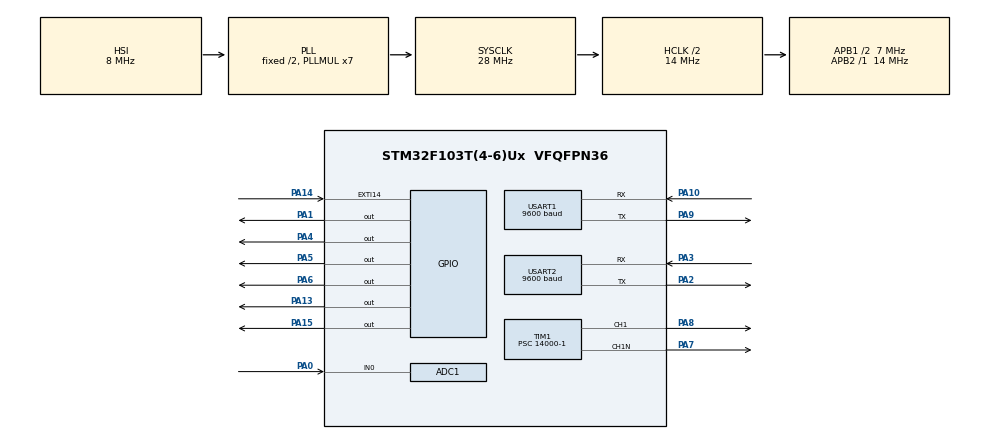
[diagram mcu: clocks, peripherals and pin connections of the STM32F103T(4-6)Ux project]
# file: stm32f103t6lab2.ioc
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ADC1.Channel-4\#ChannelRegularConversion=ADC_CHANNEL_0
ADC1.NbrOfConversionFlag=1
ADC1.Rank-4\#ChannelRegularConversion=1
ADC1.SamplingTime-4\#ChannelRegularConversion=ADC_SAMPLETIME_1CYCLE_5
ADC1.master=1
Mcu.Family=STM32F1
Mcu.Name=STM32F103T(4-6)Ux
Mcu.Package=VFQFPN36
NVIC.ADC1_2_IRQn=true\:0\:0\:false\:false\:true\:true\:true\:true
NVIC.EXTI15_10_IRQn=true\:0\:0\:false\:false\:true\:true\:true\:true
NVIC.PriorityGroup=NVIC_PRIORITYGROUP_4
NVIC.TIM2_IRQn=true\:0\:0\:false\:false\:true\:true\:true\:true
NVIC.USART1_IRQn=true\:0\:0\:false\:false\:true\:true\:true\:true
NVIC.USART2_IRQn=true\:0\:0\:false\:false\:true\:true\:true\:true
PA0-WKUP.Signal=ADCx_IN0
PA1.Signal=GPIO_Output
PA10.Mode=Asynchronous
PA10.Signal=USART1_RX
PA13.PinState=GPIO_PIN_SET
PA13.Signal=GPIO_Output
PA14.GPIO_ModeDefaultEXTI=GPIO_MODE_IT_RISING_FALLING
PA14.Signal=GPXTI14
PA15.PinState=GPIO_PIN_SET
PA15.Signal=GPIO_Output
PA2.Mode=Asynchronous
PA2.Signal=USART2_TX
PA3.Mode=Asynchronous
PA3.Signal=USART2_RX
PA4.PinState=GPIO_PIN_SET
PA4.Signal=GPIO_Output
PA5.PinState=GPIO_PIN_SET
PA5.Signal=GPIO_Output
PA6.PinState=GPIO_PIN_SET
PA6.Signal=GPIO_Output
PA7.Mode=PWM Generation1 CH1 CH1N
PA7.Signal=TIM1_CH1N
PA8.Signal=S_TIM1_CH1
PA9.Mode=Asynchronous
PA9.Signal=USART1_TX
ProjectManager.HeapSize=0x200
ProjectManager.StackSize=0x400
ProjectManager.TargetToolchain=STM32CubeIDE
RCC.AHBCLKDivider=RCC_SYSCLK_DIV2
RCC.AHBFreq_Value=14000000
RCC.APB1CLKDivider=RCC_HCLK_DIV2
RCC.APB1Freq_Value=7000000
RCC.APB1TimFreq_Value=14000000
RCC.APB2Freq_Value=14000000
RCC.APB2TimFreq_Value=14000000
RCC.HCLKFreq_Value=14000000
RCC.PLLMUL=RCC_PLL_MUL7
RCC.SYSCLKFreq_VALUE=28000000
RCC.SYSCLKSource=RCC_SYSCLKSOURCE_PLLCLK
RCC.USBFreq_Value=28000000
SH.ADCx_IN0.0=ADC1_IN0,IN0
SH.S_TIM1_CH1.0=TIM1_CH1,PWM Generation1 CH1 CH1N
TIM1.Channel-PWM\ Generation1\ CH1\ CH1N=TIM_CHANNEL_1
TIM1.OCNPolarity_1=TIM_OCNPOLARITY_HIGH
TIM1.Period=700-1
TIM1.Prescaler=14000-1
TIM1.Pulse-PWM\ Generation1\ CH1\ CH1N=350-1
TIM2.Period=700-1
TIM2.Prescaler=14000-1
USART1.BaudRate=9600
USART1.VirtualMode=VM_ASYNC
USART2.BaudRate=9600
USART2.VirtualMode=VM_ASYNC
VP_SYS_VS_ND.Mode=No_Debug
VP_TIM1_VS_ClockSourceINT.Mode=Internal
VP_TIM2_VS_ClockSourceINT.Mode=Internal
board=custom

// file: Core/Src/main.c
/* USER CODE BEGIN Header */
/**
  ******************************************************************************
  * @file           : main.c
  * @brief          : Main program body
  ******************************************************************************
  * @attention
  *
  * Copyright (c) 2024 STMicroelectronics.
  * All rights reserved.
  *
  * This software is licensed under terms that can be found in the LICENSE file
  * in the root directory of this software component.
  * If no LICENSE file comes with this software, it is provided AS-IS.
  *
  ******************************************************************************
  */
/* USER CODE END Header */
#include "main.h"

/* USER CODE BEGIN Includes */
#include <string.h>
#include <stdio.h>
/* USER CODE END Includes */

ADC_HandleTypeDef hadc1;

TIM_HandleTypeDef htim1;
TIM_HandleTypeDef htim2;

UART_HandleTypeDef huart1;
UART_HandleTypeDef huart2;

/* USER CODE BEGIN PV */
#define UART_RX_BUFFER_SIZE 50

char uart2_rx_buffer[UART_RX_BUFFER_SIZE];
uint8_t uart2_rx_index = 0;
char uart1_tx_buffer[50];
uint8_t uart2_rx_data;
/* USER CODE END PV */

void SystemClock_Config(void);
static void MX_GPIO_Init(void);
static void MX_TIM2_Init(void);
static void MX_TIM1_Init(void);
static void MX_USART1_UART_Init(void);
static void MX_ADC1_Init(void);
static void MX_USART2_UART_Init(void);

int main(void)
{

  /* MCU Configuration--------------------------------------------------------*/

  /* Reset of all peripherals, Initializes the Flash interface and the Systick. */
  HAL_Init();

  /* Configure the system clock */
  SystemClock_Config();

  /* Initialize all configured peripherals */
  MX_GPIO_Init();
  MX_TIM2_Init();
  MX_TIM1_Init();
  MX_USART1_UART_Init();
  MX_ADC1_Init();
  MX_USART2_UART_Init();
  /* USER CODE BEGIN 2 */
  HAL_GPIO_WritePin(GPIOA, GPIO_PIN_1|GPIO_PIN_4|GPIO_PIN_5|GPIO_PIN_6|GPIO_PIN_15|GPIO_PIN_13, GPIO_PIN_RESET);
  HAL_TIM_Base_Start_IT(&htim2);
  HAL_TIM_PWM_Start(&htim1, TIM_CHANNEL_1);
  HAL_TIMEx_PWMN_Start(&htim1, TIM_CHANNEL_1);

  char text[250];
  snprintf(text, 250, "Lorem ipsum dolor sit amet, consectetuer adipiscing elit.\r\n");
  /* USER CODE END 2 */

  /* Infinite loop */
  /* USER CODE BEGIN WHILE */
  HAL_UART_Receive_IT(&huart2, &uart2_rx_data, 1);
  while (1)
  {
	    HAL_ADC_Start(&hadc1);
	    HAL_ADC_PollForConversion(&hadc1, 200);
	    uint32_t value = HAL_ADC_GetValue(&hadc1);
	    HAL_ADC_Stop(&hadc1);
	    snprintf(uart1_tx_buffer, sizeof(uart1_tx_buffer), "ADC Value = %lu \r\n", value);
	    HAL_UART_Transmit_IT(&huart1, (uint8_t*)uart1_tx_buffer, strlen(uart1_tx_buffer));
	    HAL_Delay(1000);
    /* USER CODE END WHILE */

  }
}

void SystemClock_Config(void)
{
  RCC_OscInitTypeDef RCC_OscInitStruct = {0};
  RCC_ClkInitTypeDef RCC_ClkInitStruct = {0};
  RCC_PeriphCLKInitTypeDef PeriphClkInit = {0};

  /** Initializes the RCC Oscillators according to the specified parameters
  * in the RCC_OscInitTypeDef structure.
  */
  RCC_OscInitStruct.OscillatorType = RCC_OSCILLATORTYPE_HSI;
  RCC_OscInitStruct.HSIState = RCC_HSI_ON;
  RCC_OscInitStruct.HSICalibrationValue = RCC_HSICALIBRATION_DEFAULT;
  RCC_OscInitStruct.PLL.PLLState = RCC_PLL_ON;
  RCC_OscInitStruct.PLL.PLLSource = RCC_PLLSOURCE_HSI_DIV2;
  RCC_OscInitStruct.PLL.PLLMUL = RCC_PLL_MUL7;
  if (HAL_RCC_OscConfig(&RCC_OscInitStruct) != HAL_OK)
  {
    Error_Handler();
  }

  /** Initializes the CPU, AHB and APB buses clocks
  */
  RCC_ClkInitStruct.ClockType = RCC_CLOCKTYPE_HCLK|RCC_CLOCKTYPE_SYSCLK
                              |RCC_CLOCKTYPE_PCLK1|RCC_CLOCKTYPE_PCLK2;
  RCC_ClkInitStruct.SYSCLKSource = RCC_SYSCLKSOURCE_PLLCLK;
  RCC_ClkInitStruct.AHBCLKDivider = RCC_SYSCLK_DIV2;
  RCC_ClkInitStruct.APB1CLKDivider = RCC_HCLK_DIV2;
  RCC_ClkInitStruct.APB2CLKDivider = RCC_HCLK_DIV1;

  if (HAL_RCC_ClockConfig(&RCC_ClkInitStruct, FLASH_LATENCY_1) != HAL_OK)
  {
    Error_Handler();
  }
  PeriphClkInit.PeriphClockSelection = RCC_PERIPHCLK_ADC;
  PeriphClkInit.AdcClockSelection = RCC_ADCPCLK2_DIV2;
  if (HAL_RCCEx_PeriphCLKConfig(&PeriphClkInit) != HAL_OK)
  {
    Error_Handler();
  }
}

static void MX_ADC1_Init(void)
{

  ADC_ChannelConfTypeDef sConfig = {0};

  /** Common config
  */
  hadc1.Instance = ADC1;
  hadc1.Init.ScanConvMode = ADC_SCAN_DISABLE;
  hadc1.Init.ContinuousConvMode = DISABLE;
  hadc1.Init.DiscontinuousConvMode = DISABLE;
  hadc1.Init.ExternalTrigConv = ADC_SOFTWARE_START;
  hadc1.Init.DataAlign = ADC_DATAALIGN_RIGHT;
  hadc1.Init.NbrOfConversion = 1;
  if (HAL_ADC_Init(&hadc1) != HAL_OK)
  {
    Error_Handler();
  }

  /** Configure Regular Channel
  */
  sConfig.Channel = ADC_CHANNEL_0;
  sConfig.Rank = ADC_REGULAR_RANK_1;
  sConfig.SamplingTime = ADC_SAMPLETIME_1CYCLE_5;
  if (HAL_ADC_ConfigChannel(&hadc1, &sConfig) != HAL_OK)
  {
    Error_Handler();
  }

}

static void MX_TIM1_Init(void)
{

  TIM_ClockConfigTypeDef sClockSourceConfig = {0};
  TIM_MasterConfigTypeDef sMasterConfig = {0};
  TIM_OC_InitTypeDef sConfigOC = {0};
  TIM_BreakDeadTimeConfigTypeDef sBreakDeadTimeConfig = {0};

  htim1.Instance = TIM1;
  htim1.Init.Prescaler = 14000-1;
  htim1.Init.CounterMode = TIM_COUNTERMODE_UP;
  htim1.Init.Period = 700-1;
  htim1.Init.ClockDivision = TIM_CLOCKDIVISION_DIV1;
  htim1.Init.RepetitionCounter = 0;
  htim1.Init.AutoReloadPreload = TIM_AUTORELOAD_PRELOAD_DISABLE;
  if (HAL_TIM_Base_Init(&htim1) != HAL_OK)
  {
    Error_Handler();
  }
  sClockSourceConfig.ClockSource = TIM_CLOCKSOURCE_INTERNAL;
  if (HAL_TIM_ConfigClockSource(&htim1, &sClockSourceConfig) != HAL_OK)
  {
    Error_Handler();
  }
  if (HAL_TIM_PWM_Init(&htim1) != HAL_OK)
  {
    Error_Handler();
  }
  sMasterConfig.MasterOutputTrigger = TIM_TRGO_RESET;
  sMasterConfig.MasterSlaveMode = TIM_MASTERSLAVEMODE_DISABLE;
  if (HAL_TIMEx_MasterConfigSynchronization(&htim1, &sMasterConfig) != HAL_OK)
  {
    Error_Handler();
  }
  sConfigOC.OCMode = TIM_OCMODE_PWM1;
  sConfigOC.Pulse = 350-1;
  sConfigOC.OCPolarity = TIM_OCPOLARITY_HIGH;
  sConfigOC.OCNPolarity = TIM_OCNPOLARITY_HIGH;
  sConfigOC.OCFastMode = TIM_OCFAST_DISABLE;
  sConfigOC.OCIdleState = TIM_OCIDLESTATE_RESET;
  sConfigOC.OCNIdleState = TIM_OCNIDLESTATE_RESET;
  if (HAL_TIM_PWM_ConfigChannel(&htim1, &sConfigOC, TIM_CHANNEL_1) != HAL_OK)
  {
    Error_Handler();
  }
  sBreakDeadTimeConfig.OffStateRunMode = TIM_OSSR_DISABLE;
  sBreakDeadTimeConfig.OffStateIDLEMode = TIM_OSSI_DISABLE;
  sBreakDeadTimeConfig.LockLevel = TIM_LOCKLEVEL_OFF;
  sBreakDeadTimeConfig.DeadTime = 0;
  sBreakDeadTimeConfig.BreakState = TIM_BREAK_DISABLE;
  sBreakDeadTimeConfig.BreakPolarity = TIM_BREAKPOLARITY_HIGH;
  sBreakDeadTimeConfig.AutomaticOutput = TIM_AUTOMATICOUTPUT_DISABLE;
  if (HAL_TIMEx_ConfigBreakDeadTime(&htim1, &sBreakDeadTimeConfig) != HAL_OK)
  {
    Error_Handler();
  }
  HAL_TIM_MspPostInit(&htim1);

}

static void MX_TIM2_Init(void)
{

  TIM_ClockConfigTypeDef sClockSourceConfig = {0};
  TIM_MasterConfigTypeDef sMasterConfig = {0};

  htim2.Instance = TIM2;
  htim2.Init.Prescaler = 14000-1;
  htim2.Init.CounterMode = TIM_COUNTERMODE_UP;
  htim2.Init.Period = 700-1;
  htim2.Init.ClockDivision = TIM_CLOCKDIVISION_DIV1;
  htim2.Init.AutoReloadPreload = TIM_AUTORELOAD_PRELOAD_DISABLE;
  if (HAL_TIM_Base_Init(&htim2) != HAL_OK)
  {
    Error_Handler();
  }
  sClockSourceConfig.ClockSource = TIM_CLOCKSOURCE_INTERNAL;
  if (HAL_TIM_ConfigClockSource(&htim2, &sClockSourceConfig) != HAL_OK)
  {
    Error_Handler();
  }
  sMasterConfig.MasterOutputTrigger = TIM_TRGO_RESET;
  sMasterConfig.MasterSlaveMode = TIM_MASTERSLAVEMODE_DISABLE;
  if (HAL_TIMEx_MasterConfigSynchronization(&htim2, &sMasterConfig) != HAL_OK)
  {
    Error_Handler();
  }

}

static void MX_USART1_UART_Init(void)
{

  huart1.Instance = USART1;
  huart1.Init.BaudRate = 9600;
  huart1.Init.WordLength = UART_WORDLENGTH_8B;
  huart1.Init.StopBits = UART_STOPBITS_1;
  huart1.Init.Parity = UART_PARITY_NONE;
  huart1.Init.Mode = UART_MODE_TX_RX;
  huart1.Init.HwFlowCtl = UART_HWCONTROL_NONE;
  huart1.Init.OverSampling = UART_OVERSAMPLING_16;
  if (HAL_UART_Init(&huart1) != HAL_OK)
  {
    Error_Handler();
  }

}

static void MX_USART2_UART_Init(void)
{

  huart2.Instance = USART2;
  huart2.Init.BaudRate = 9600;
  huart2.Init.WordLength = UART_WORDLENGTH_8B;
  huart2.Init.StopBits = UART_STOPBITS_1;
  huart2.Init.Parity = UART_PARITY_NONE;
  huart2.Init.Mode = UART_MODE_TX_RX;
  huart2.Init.HwFlowCtl = UART_HWCONTROL_NONE;
  huart2.Init.OverSampling = UART_OVERSAMPLING_16;
  if (HAL_UART_Init(&huart2) != HAL_OK)
  {
    Error_Handler();
  }

}

static void MX_GPIO_Init(void)
{
  GPIO_InitTypeDef GPIO_InitStruct = {0};

  /* GPIO Ports Clock Enable */
  __HAL_RCC_GPIOA_CLK_ENABLE();

  /*Configure GPIO pin Output Level */
  HAL_GPIO_WritePin(GPIOA, GPIO_PIN_1, GPIO_PIN_RESET);

  /*Configure GPIO pin Output Level */
  HAL_GPIO_WritePin(GPIOA, GPIO_PIN_4|GPIO_PIN_5|GPIO_PIN_6|GPIO_PIN_13
                          |GPIO_PIN_15, GPIO_PIN_SET);

  /*Configure GPIO pins : PA1 PA4 PA5 PA6
                           PA13 PA15 */
  GPIO_InitStruct.Pin = GPIO_PIN_1|GPIO_PIN_4|GPIO_PIN_5|GPIO_PIN_6
                          |GPIO_PIN_13|GPIO_PIN_15;
  GPIO_InitStruct.Mode = GPIO_MODE_OUTPUT_PP;
  GPIO_InitStruct.Pull = GPIO_NOPULL;
  GPIO_InitStruct.Speed = GPIO_SPEED_FREQ_LOW;
  HAL_GPIO_Init(GPIOA, &GPIO_InitStruct);

  /*Configure GPIO pin : PA14 */
  GPIO_InitStruct.Pin = GPIO_PIN_14;
  GPIO_InitStruct.Mode = GPIO_MODE_IT_RISING_FALLING;
  GPIO_InitStruct.Pull = GPIO_NOPULL;
  HAL_GPIO_Init(GPIOA, &GPIO_InitStruct);

  /* EXTI interrupt init*/
  HAL_NVIC_SetPriority(EXTI15_10_IRQn, 0, 0);
  HAL_NVIC_EnableIRQ(EXTI15_10_IRQn);

}

/* USER CODE BEGIN 4 */
void HAL_GPIO_EXTI_Callback(uint16_t GPIO_Pin) {
    if (GPIO_Pin == GPIO_PIN_14) {
        uint16_t pins[] = {/*GPIO_PIN_1,*/ /*GPIO_PIN_2, GPIO_PIN_3,*/ GPIO_PIN_4, GPIO_PIN_5};
        uint8_t numPins = sizeof(pins) / sizeof(pins[0]);

        for (uint8_t i = 0; i < numPins; i++) {
            HAL_GPIO_TogglePin(GPIOA, pins[i]);
        }
    } else if (GPIO_Pin == GPIO_PIN_11) {
        uint16_t pins[] = {GPIO_PIN_6, /*GPIO_PIN_9, GPIO_PIN_10,*/ GPIO_PIN_15, GPIO_PIN_13};
        uint8_t numPins = sizeof(pins) / sizeof(pins[0]);

        for (uint8_t i = 0; i < numPins; i++) {
            HAL_GPIO_TogglePin(GPIOA, pins[i]);
        }
    }
}

void HAL_TIM_PeriodElapsedCallback(TIM_HandleTypeDef *htim)
{
  if (htim->Instance == TIM1 || htim->Instance == TIM2)
  {
    HAL_GPIO_TogglePin(GPIOA, /*GPIO_PIN_1|*//*|GPIO_PIN_2|GPIO_PIN_3
            |*/GPIO_PIN_4|GPIO_PIN_5|GPIO_PIN_6/*|GPIO_PIN_9|
            GPIO_PIN_10*/|GPIO_PIN_15|GPIO_PIN_13);
  }
}

void HAL_UART_RxCpltCallback(UART_HandleTypeDef *huart)
{
    if (huart->Instance == USART2)
    {
        if (uart2_rx_data != '\r') // Check if Enter key is pressed
        {
            // Check if the received character is printable ASCII
            if (uart2_rx_data >= 32 && uart2_rx_data <= 126)
            {
                uart2_rx_buffer[uart2_rx_index++] = uart2_rx_data; // Store the received character
                if (uart2_rx_index >= UART_RX_BUFFER_SIZE - 1) {
                    // Buffer overflow, discard the current command
                    uart2_rx_index = 0;
                }
            }
            // Ignore non-printable characters
        }
        else
        {
            uart2_rx_buffer[uart2_rx_index] = '\0'; // Terminate the string

            // Check if the received command is "LED ON"
            if (strcmp(uart2_rx_buffer, "LED ON") == 0)
            {
                // Enable LED on pin PA1
                HAL_GPIO_WritePin(GPIOA, GPIO_PIN_1, GPIO_PIN_SET);
                snprintf(uart1_tx_buffer, sizeof(uart1_tx_buffer), "LED is ON\r\n");
                HAL_UART_Transmit(&huart1, (uint8_t*)uart1_tx_buffer, strlen(uart1_tx_buffer), HAL_MAX_DELAY);
            }
            // Check if the received command is "LED OFF"
            else if (strcmp(uart2_rx_buffer, "LED OFF") == 0)
            {
                // Disable LED on pin PA1
                HAL_GPIO_WritePin(GPIOA, GPIO_PIN_1, GPIO_PIN_RESET);
                snprintf(uart1_tx_buffer, sizeof(uart1_tx_buffer), "LED is OFF\r\n");
                HAL_UART_Transmit(&huart1, (uint8_t*)uart1_tx_buffer, strlen(uart1_tx_buffer), HAL_MAX_DELAY);
            }
            else if(strncmp(uart2_rx_buffer, "TIMER=", 6) == 0){
            	// Extract the value after "TIMER="
            	            uint32_t timerValue;
            	            if (sscanf(uart2_rx_buffer + 6, "%lu", &timerValue) == 1)
            	            {
            	                // Configure the timer with the received value

            	                __HAL_TIM_SET_AUTORELOAD(&htim2, timerValue);
            	                snprintf(uart1_tx_buffer, sizeof(uart1_tx_buffer), "Timer configured to %lu\r\n", timerValue);
            	                HAL_UART_Transmit(&huart1, (uint8_t*)uart1_tx_buffer, strlen(uart1_tx_buffer), HAL_MAX_DELAY);
            	            }
            	            else
            	            {
            	                snprintf(uart1_tx_buffer, sizeof(uart1_tx_buffer), "Invalid TIMER command\r\n");
            	                HAL_UART_Transmit(&huart1, (uint8_t*)uart1_tx_buffer, strlen(uart1_tx_buffer), HAL_MAX_DELAY);
            	            }
            }
            else if(strncmp(uart2_rx_buffer, "PWM=", 4) == 0){
            	// Extract the value after "PWM="
            	            uint32_t pwmValue;
            	            if (sscanf(uart2_rx_buffer + 4, "%lu", &pwmValue) == 1)
            	            {
            	                // Configure the PWM with the received value

            	                __HAL_TIM_SET_COMPARE(&htim1, TIM_CHANNEL_1, pwmValue);
            	                snprintf(uart1_tx_buffer, sizeof(uart1_tx_buffer), "PWM configured to %lu\r\n", pwmValue);
            	                HAL_UART_Transmit(&huart1, (uint8_t*)uart1_tx_buffer, strlen(uart1_tx_buffer), HAL_MAX_DELAY);
            	            }
            	            else
            	            {
            	                snprintf(uart1_tx_buffer, sizeof(uart1_tx_buffer), "Invalid PWM command\r\n");
            	                HAL_UART_Transmit(&huart1, (uint8_t*)uart1_tx_buffer, strlen(uart1_tx_buffer), HAL_MAX_DELAY);
            	            }
            }
            else
            {
                snprintf(uart1_tx_buffer, sizeof(uart1_tx_buffer), "Unknown command: %s\r\n", uart2_rx_buffer);
                HAL_UART_Transmit(&huart1, (uint8_t*)uart1_tx_buffer, strlen(uart1_tx_buffer), HAL_MAX_DELAY);
            }

            // Reset the buffer index for the next command
            uart2_rx_index = 0;
        }

        // Start listening for the next character
        HAL_UART_Receive_IT(&huart2, &uart2_rx_data, 1);
    }
}

/* USER CODE END 4 */

void Error_Handler(void)
{
  __disable_irq();
  while (1)
  {
  }
}

/************************ (C) COPYRIGHT STMicroelectronics *****END OF FILE****/
